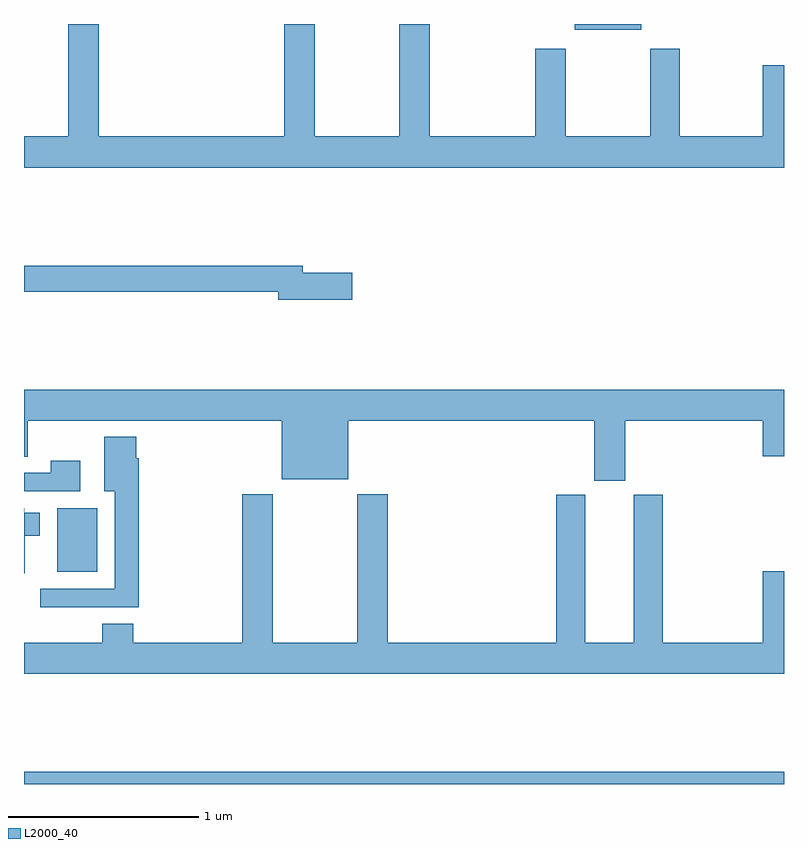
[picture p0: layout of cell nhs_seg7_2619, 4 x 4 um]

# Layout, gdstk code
import gdstk
lib = gdstk.Library(unit=1e-6, precision=1e-09)
def R(c, l, rs):  # rectangles x0, y0, x1, y1
    for r in rs: c.add(gdstk.rectangle(r[:2], r[2:], *l))
def P(c, l, *ps):  # polygons
    for p in ps: c.add(gdstk.Polygon(p, *l))
L2000_40 = (2000, 40)

nhs_seg7_2619 = lib.new_cell('nhs_seg7_2619')
R(nhs_seg7_2619, L2000_40, [(281,1036,285,1036.064), (281.174,1037.117,281.386,1037.452), (283.898,1039.97,284.248,1040)])
P(nhs_seg7_2619, L2000_40, [(282.371,1040),(282.371,1039.408),(281.393,1039.408),(281.393,1040),(281.233,1040),(281.233,1039.408),(281,1039.408),(281,1039.244),(285,1039.244),(285,1039.783),(284.888,1039.783),(284.888,1039.408),(284.451,1039.408),(284.451,1039.87),(284.296,1039.87),(284.296,1039.408),(283.851,1039.408),(283.851,1039.87),(283.691,1039.87),(283.691,1039.408),(283.136,1039.408),(283.136,1040),(282.976,1040),(282.976,1039.408),(282.531,1039.408),(282.531,1040)],
  [(282.727,1038.692),(282.466,1038.692),(282.466,1038.728),(281,1038.728),(281,1038.592),(282.338,1038.592),(282.338,1038.55),(282.727,1038.55)],
  [(284.164,1037.912),(284.888,1037.912),(284.888,1037.724),(285,1037.724),(285,1038.076),(281,1038.076),(281,1037.722),(281.019,1037.722),(281.019,1037.912),(282.356,1037.912),(282.356,1037.603),(282.706,1037.603),(282.706,1037.912),(284,1037.912),(284,1037.595),(284.164,1037.595)],
  [(281.603,1037.714),(281.59,1037.714),(281.59,1037.827),(281.423,1037.827),(281.423,1037.54),(281.477,1037.54),(281.477,1037.028),(281.085,1037.028),(281.085,1036.93),(281.603,1036.93)],
  [(281.296,1037.701),(281.14,1037.701),(281.14,1037.637),(281,1037.637),(281,1037.541),(281.296,1037.541)],
  [(285,1037.119),(284.888,1037.119),(284.888,1036.744),(284.363,1036.744),(284.363,1037.523),(284.21,1037.523),(284.21,1036.744),(283.954,1036.744),(283.954,1037.523),(283.802,1037.523),(283.802,1036.744),(282.914,1036.744),(282.914,1037.524),(282.754,1037.524),(282.754,1036.744),(282.309,1036.744),(282.309,1037.524),(282.149,1037.524),(282.149,1036.744),(281.576,1036.744),(281.576,1036.843),(281.411,1036.843),(281.411,1036.744),(281,1036.744),(281,1036.58),(285,1036.58)],
  [(281.005,1037.306),(281.083,1037.306),(281.083,1037.428),(281.001,1037.428),(281.001,1037.452),(281,1037.452),(281,1037.108),(281.005,1037.108)])

lib.write_gds('nhs_seg7_2619.gds')
